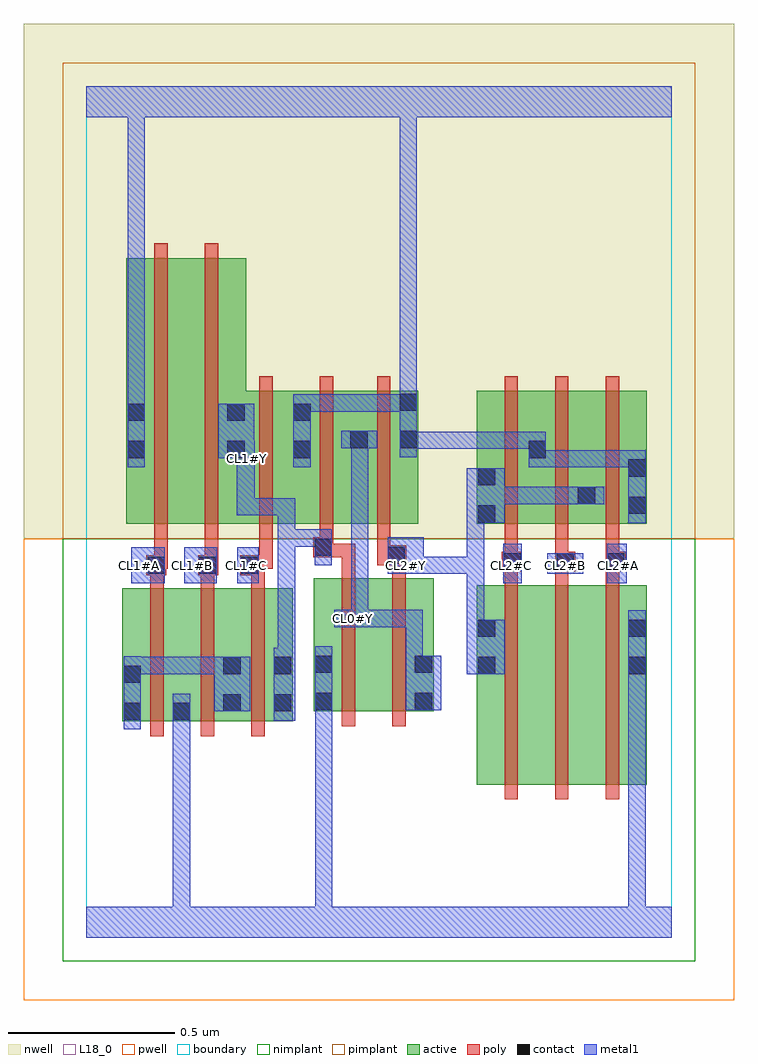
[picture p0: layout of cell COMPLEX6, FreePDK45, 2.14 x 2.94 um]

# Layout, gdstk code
import gdstk
lib = gdstk.Library(unit=1e-6, precision=1e-09)
def R(c, l, rs):  # rectangles x0, y0, x1, y1
    for r in rs: c.add(gdstk.rectangle(r[:2], r[2:], *l))
def A(c, l, x, y, w, h, nx, ny, dx, dy):  # array of equal rectangles
    R(c, l, [(x+i*dx, y+j*dy, x+i*dx+w, y+j*dy+h) for i in range(nx) for j in range(ny)])
active = (1, 0)
pwell = (2, 0)
nwell = (3, 0)
nimplant = (4, 0)
pimplant = (5, 0)
poly = (9, 0)
contact = (10, 0)
metal1 = (11, 0)
L18_0 = (18, 0)
boundary = (235, 0)

complex6 = lib.new_cell('COMPLEX6')
R(complex6, active, [(1.174,0.46,1.354,1.06), (1.354,0.46,1.506,1.06), (1.506,0.46,1.686,1.06), (1.626,0.46,1.686,1.06), (1.174,0.556,1.234,1.06), (0.108,0.65,0.168,1.05), (0.108,0.65,0.316,1.05), (0.256,0.65,0.468,1.05), (0.256,0.65,0.316,0.828), (0.408,0.65,0.62,1.05), (0.408,0.65,0.468,1.012), (0.56,0.65,0.62,1.05), (0.684,0.68,0.744,1.08), (0.684,0.68,0.864,1.08), (0.864,0.68,1.044,1.08), (0.984,0.68,1.044,1.08), (0.12,1.244,0.18,2.044), (0.12,1.244,0.3,2.044), (0.3,1.244,0.48,2.044), (0.42,1.244,0.678,1.644), (0.42,1.244,0.48,2.044), (0.618,1.244,0.85,1.644), (0.79,1.244,0.998,1.644), (0.938,1.244,0.998,1.644), (1.174,1.244,1.234,1.644), (1.174,1.244,1.386,1.644), (1.326,1.244,1.534,1.644), (1.474,1.244,1.686,1.644), (1.626,1.244,1.686,1.644), (1.474,1.3,1.534,1.644), (0.618,1.438,0.678,1.644), (1.326,1.438,1.386,1.644), (0.79,1.468,0.85,1.644)])
R(complex6, pwell, [(-0.188,-0.188,1.948,1.2)])
R(complex6, nwell, [(-0.188,1.2,1.948,2.748)])
R(complex6, nimplant, [(-0.072,-0.072,1.832,1.2)])
R(complex6, pimplant, [(-0.072,1.2,1.832,2.632)])
A(complex6, poly, 1.258, 0.416, 0.04, 0.688, 3, 1, 0.152, 0)
A(complex6, poly, 0.192, 0.606, 0.04, 0.488, 3, 1, 0.152, 0)
A(complex6, poly, 0.192, 1.054, 0.04, 0.076, 3, 1, 0.152, 0)
A(complex6, poly, 1.258, 1.064, 0.04, 0.076, 3, 1, 0.152, 0)
A(complex6, poly, 1.258, 1.12, 0.04, 0.12, 3, 1, 0.152, 0)
A(complex6, poly, 1.258, 1.2, 0.04, 0.488, 3, 1, 0.152, 0)
R(complex6, poly, [(0.768,0.636,0.808,1.124), (0.92,0.636,0.96,1.124), (0.768,1.084,0.808,1.184), (0.92,1.084,0.96,1.16), (0.18,1.09,0.24,1.15), (0.336,1.09,0.396,1.15), (0.344,1.09,0.384,1.13), (0.344,1.09,0.384,1.13), (0.462,1.09,0.536,1.15), (1.25,1.1,1.31,1.16), (1.41,1.1,1.45,1.14), (1.41,1.1,1.45,1.14), (1.41,1.1,1.47,1.16), (1.562,1.1,1.622,1.16), (0.2,1.11,0.24,1.15), (0.2,1.11,0.244,1.15), (0.204,1.11,0.244,1.24), (0.356,1.11,0.396,1.24), (0.496,1.11,0.536,1.15), (0.496,1.11,0.56,1.15), (0.52,1.11,0.56,1.24), (0.874,1.12,0.962,1.18), (0.92,1.12,0.96,1.16), (0.92,1.12,0.96,1.16), (1.258,1.12,1.298,1.16), (1.258,1.12,1.298,1.16), (1.562,1.12,1.602,1.16), (1.562,1.12,1.602,1.16), (0.874,1.14,0.914,1.24), (0.682,1.144,0.742,1.204), (0.702,1.144,0.742,1.184), (0.702,1.144,0.808,1.184), (0.702,1.164,0.742,1.24), (0.204,1.2,0.244,2.088), (0.356,1.2,0.396,2.088), (0.52,1.2,0.56,1.688), (0.702,1.2,0.742,1.688), (0.874,1.2,0.914,1.688)])
R(complex6, contact, [(0.112,0.654,0.164,0.706), (0.26,0.654,0.312,0.706), (0.412,0.68,0.464,0.732), (0.564,0.68,0.616,0.732), (0.688,0.684,0.74,0.736), (0.988,0.684,1.04,0.736), (0.112,0.766,0.164,0.818), (0.412,0.792,0.464,0.844), (0.564,0.792,0.616,0.844), (1.178,0.792,1.23,0.844), (1.63,0.792,1.682,0.844), (0.688,0.796,0.74,0.848), (0.988,0.796,1.04,0.848), (1.178,0.904,1.23,0.956), (1.63,0.904,1.682,0.956), (0.184,1.094,0.236,1.146), (0.34,1.094,0.392,1.146), (0.466,1.094,0.518,1.146), (1.254,1.104,1.306,1.156), (1.414,1.104,1.466,1.156), (1.566,1.104,1.618,1.156), (0.906,1.124,0.958,1.176), (0.686,1.148,0.738,1.2), (1.178,1.248,1.23,1.3), (1.63,1.274,1.682,1.326), (1.478,1.304,1.53,1.356), (1.178,1.36,1.23,1.412), (1.63,1.386,1.682,1.438), (0.124,1.442,0.176,1.494), (0.424,1.442,0.476,1.494), (0.622,1.442,0.674,1.494), (1.33,1.442,1.382,1.494), (0.794,1.472,0.846,1.524), (0.942,1.472,0.994,1.524), (0.124,1.554,0.176,1.606), (0.424,1.554,0.476,1.606), (0.622,1.554,0.674,1.606), (0.942,1.584,0.994,1.636)])
R(complex6, metal1, [(0,0,1.76,0.092), (0.26,0.04,0.312,0.092), (0.26,0.04,0.312,0.092), (0.26,0.04,0.312,0.092), (0.26,0.04,0.312,0.092), (0.26,0.04,0.312,0.092), (0.26,0.04,0.312,0.092), (0.26,0.04,0.312,0.092), (0.26,0.04,0.312,0.092), (0.26,0.04,0.312,0.092), (0.26,0.04,0.312,0.092), (0.26,0.04,0.312,0.678), (0.688,0.04,0.74,0.092), (0.688,0.04,0.74,0.092), (0.688,0.04,0.74,0.092), (0.688,0.04,0.74,0.092), (0.688,0.04,0.74,0.092), (0.688,0.04,0.74,0.092), (0.688,0.04,0.74,0.092), (0.688,0.04,0.74,0.092), (0.688,0.04,0.74,0.092), (0.688,0.04,0.74,0.092), (0.688,0.04,0.74,0.708), (1.63,0.04,1.682,0.092), (1.63,0.04,1.682,0.092), (1.63,0.04,1.682,0.092), (1.63,0.04,1.682,0.092), (1.63,0.04,1.682,0.092), (1.63,0.04,1.682,0.092), (1.63,0.04,1.682,0.092), (1.63,0.04,1.682,0.092), (1.63,0.04,1.682,0.816), (0.112,0.626,0.164,0.846), (0.26,0.626,0.312,0.678), (0.26,0.626,0.312,0.678), (0.26,0.626,0.312,0.734), (0.564,0.652,0.628,0.872), (0.688,0.656,0.74,0.708), (0.688,0.656,0.74,0.708), (0.688,0.656,0.74,0.876), (0.384,0.68,0.492,0.844), (0.96,0.684,1.068,0.848), (1.63,0.764,1.682,0.984), (0.112,0.792,0.164,0.844), (0.112,0.792,0.164,0.844), (0.112,0.792,0.326,0.844), (0.274,0.792,0.326,0.844), (0.274,0.792,0.326,0.844), (0.274,0.792,0.326,0.844), (0.274,0.792,0.436,0.844), (1.144,0.792,1.258,0.956), (0.96,0.796,1.012,0.986), (0.576,0.82,0.628,1.228), (1.144,0.904,1.196,0.956), (1.144,0.904,1.196,0.956), (1.144,0.904,1.196,1.146), (0.746,0.934,0.854,0.986), (0.796,0.934,0.848,0.986), (0.796,0.934,0.848,0.986), (0.796,0.934,0.848,1.524), (0.802,0.934,1.012,0.986), (0.96,0.934,1.012,0.986), (0.96,0.934,1.012,0.986), (0.96,0.934,1.012,0.986), (0.134,1.066,0.236,1.174), (0.294,1.066,0.392,1.174), (0.454,1.066,0.518,1.174), (1.254,1.066,1.31,1.184), (1.566,1.066,1.626,1.184), (0.906,1.094,1.014,1.204), (0.962,1.094,1.014,1.146), (0.962,1.094,1.014,1.146), (0.962,1.094,1.196,1.146), (1.144,1.094,1.196,1.146), (1.144,1.094,1.196,1.3), (1.386,1.094,1.494,1.156), (0.686,1.12,0.738,1.228), (0.576,1.176,0.628,1.228), (0.576,1.176,0.628,1.228), (0.576,1.176,0.628,1.228), (0.576,1.176,0.628,1.228), (0.576,1.176,0.738,1.228), (0.576,1.176,0.628,1.322), (1.63,1.246,1.682,1.466), (1.144,1.248,1.258,1.412), (0.452,1.27,0.506,1.494), (0.454,1.27,0.506,1.322), (0.454,1.27,0.506,1.322), (0.454,1.27,0.628,1.322), (1.206,1.304,1.258,1.356), (1.206,1.304,1.258,1.356), (1.206,1.304,1.392,1.356), (1.34,1.304,1.392,1.356), (1.34,1.304,1.392,1.356), (1.34,1.304,1.392,1.356), (1.34,1.304,1.502,1.356), (1.45,1.304,1.558,1.356), (0.124,1.414,0.176,1.634), (0.622,1.414,0.674,1.634), (1.33,1.414,1.382,1.466), (1.33,1.414,1.382,1.466), (1.33,1.414,1.502,1.466), (1.33,1.414,1.382,1.522), (1.45,1.414,1.502,1.466), (1.45,1.414,1.682,1.466), (1.63,1.414,1.682,1.466), (1.63,1.414,1.682,1.466), (0.396,1.442,0.504,1.606), (0.452,1.442,0.504,1.494), (0.942,1.444,0.994,1.664), (0.942,1.47,1.178,1.522), (1.126,1.47,1.178,1.522), (1.126,1.47,1.178,1.522), (1.126,1.47,1.178,1.522), (1.126,1.47,1.382,1.522), (0.766,1.472,0.874,1.524), (0.124,1.582,0.176,1.634), (0.124,1.582,0.176,1.634), (0.124,1.582,0.176,2.52), (0.622,1.582,0.784,1.634), (0.732,1.582,0.784,1.634), (0.732,1.582,0.784,1.634), (0.732,1.582,0.784,1.634), (0.732,1.582,0.994,1.634), (0.942,1.582,0.994,1.634), (0.942,1.582,0.994,1.634), (0.942,1.612,0.994,1.664), (0.942,1.612,0.994,1.664), (0.942,1.612,0.994,1.664), (0.942,1.612,0.994,1.664), (0.942,1.612,0.994,1.664), (0.942,1.612,0.994,1.664), (0.942,1.612,0.994,1.664), (0.942,1.612,0.994,1.664), (0.942,1.612,0.994,1.664), (0.942,1.612,0.994,1.664), (0.942,1.612,0.994,1.664), (0.942,1.612,0.994,1.664), (0.942,1.612,0.994,1.664), (0.942,1.612,0.994,1.664), (0.942,1.612,0.994,2.52), (0,2.468,1.76,2.56), (0.124,2.468,0.176,2.52), (0.124,2.468,0.176,2.52), (0.124,2.468,0.176,2.52), (0.124,2.468,0.176,2.52), (0.124,2.468,0.176,2.52), (0.124,2.468,0.176,2.52), (0.942,2.468,0.994,2.52), (0.942,2.468,0.994,2.52)])
A(complex6, L18_0, 0.134, 1.094, 0.052, 0.052, 3, 1, 0.16, 0)
A(complex6, L18_0, 1.254, 1.094, 0.052, 0.052, 3, 1, 0.16, 0)
R(complex6, L18_0, [(0,0,1.76,0.092), (0.26,0.04,0.312,0.092), (0.26,0.04,0.312,0.092), (0.26,0.04,0.312,0.092), (0.26,0.04,0.312,0.092), (0.26,0.04,0.312,0.092), (0.26,0.04,0.312,0.092), (0.26,0.04,0.312,0.092), (0.26,0.04,0.312,0.092), (0.26,0.04,0.312,0.092), (0.26,0.04,0.312,0.092), (0.26,0.04,0.312,0.678), (0.688,0.04,0.74,0.092), (0.688,0.04,0.74,0.092), (0.688,0.04,0.74,0.092), (0.688,0.04,0.74,0.092), (0.688,0.04,0.74,0.092), (0.688,0.04,0.74,0.092), (0.688,0.04,0.74,0.092), (0.688,0.04,0.74,0.092), (0.688,0.04,0.74,0.092), (0.688,0.04,0.74,0.092), (0.688,0.04,0.74,0.708), (1.63,0.04,1.682,0.092), (1.63,0.04,1.682,0.092), (1.63,0.04,1.682,0.092), (1.63,0.04,1.682,0.092), (1.63,0.04,1.682,0.092), (1.63,0.04,1.682,0.092), (1.63,0.04,1.682,0.092), (1.63,0.04,1.682,0.092), (1.63,0.04,1.682,0.816), (0.26,0.626,0.312,0.678), (0.26,0.626,0.312,0.678), (0.26,0.626,0.312,0.734), (0.564,0.652,0.628,0.872), (0.688,0.656,0.74,0.876), (0.688,0.656,0.74,0.708), (0.688,0.656,0.74,0.708), (0.96,0.684,1.068,0.848), (1.63,0.764,1.682,0.984), (1.144,0.792,1.258,0.956), (0.96,0.796,1.012,0.986), (0.576,0.82,0.628,1.228), (1.144,0.904,1.196,0.956), (1.144,0.904,1.196,0.956), (1.144,0.904,1.196,1.146), (0.746,0.934,0.854,0.986), (0.774,0.934,0.826,0.986), (0.796,0.934,0.848,0.986), (0.796,0.934,0.848,0.986), (0.796,0.934,0.848,1.524), (0.802,0.934,1.012,0.986), (0.96,0.934,1.012,0.986), (0.96,0.934,1.012,0.986), (0.96,0.934,1.012,0.986), (0.134,1.066,0.236,1.174), (0.294,1.066,0.392,1.174), (0.454,1.066,0.518,1.174), (1.254,1.066,1.31,1.184), (1.566,1.066,1.626,1.184), (0.906,1.094,1.014,1.204), (0.934,1.094,0.986,1.146), (0.962,1.094,1.014,1.146), (0.962,1.094,1.014,1.146), (0.962,1.094,1.196,1.146), (1.144,1.094,1.196,1.146), (1.144,1.094,1.196,1.3), (1.386,1.094,1.494,1.156), (0.686,1.12,0.738,1.228), (0.576,1.176,0.628,1.228), (0.576,1.176,0.628,1.228), (0.576,1.176,0.628,1.228), (0.576,1.176,0.628,1.228), (0.576,1.176,0.628,1.322), (0.576,1.176,0.738,1.228), (1.63,1.246,1.682,1.466), (1.144,1.248,1.258,1.412), (0.452,1.27,0.506,1.494), (0.454,1.27,0.506,1.322), (0.454,1.27,0.506,1.322), (0.454,1.27,0.628,1.322), (1.206,1.304,1.258,1.356), (1.206,1.304,1.258,1.356), (1.206,1.304,1.392,1.356), (1.34,1.304,1.392,1.356), (1.34,1.304,1.392,1.356), (1.34,1.304,1.392,1.356), (1.34,1.304,1.502,1.356), (1.45,1.304,1.558,1.356), (0.124,1.414,0.176,1.634), (0.454,1.414,0.506,1.466), (0.622,1.414,0.674,1.634), (1.33,1.414,1.382,1.466), (1.33,1.414,1.382,1.466), (1.33,1.414,1.382,1.522), (1.33,1.414,1.502,1.466), (1.45,1.414,1.502,1.466), (1.45,1.414,1.682,1.466), (1.63,1.414,1.682,1.466), (1.63,1.414,1.682,1.466), (0.396,1.442,0.504,1.606), (0.452,1.442,0.504,1.494), (0.942,1.444,0.994,1.664), (0.942,1.47,1.178,1.522), (1.126,1.47,1.178,1.522), (1.126,1.47,1.178,1.522), (1.126,1.47,1.178,1.522), (1.126,1.47,1.382,1.522), (0.766,1.472,0.874,1.524), (0.124,1.582,0.176,1.634), (0.124,1.582,0.176,1.634), (0.124,1.582,0.176,2.52), (0.622,1.582,0.784,1.634), (0.732,1.582,0.784,1.634), (0.732,1.582,0.784,1.634), (0.732,1.582,0.784,1.634), (0.732,1.582,0.994,1.634), (0.942,1.582,0.994,1.634), (0.942,1.582,0.994,1.634), (0.942,1.612,0.994,1.664), (0.942,1.612,0.994,1.664), (0.942,1.612,0.994,1.664), (0.942,1.612,0.994,1.664), (0.942,1.612,0.994,1.664), (0.942,1.612,0.994,1.664), (0.942,1.612,0.994,1.664), (0.942,1.612,0.994,1.664), (0.942,1.612,0.994,1.664), (0.942,1.612,0.994,1.664), (0.942,1.612,0.994,1.664), (0.942,1.612,0.994,1.664), (0.942,1.612,0.994,1.664), (0.942,1.612,0.994,1.664), (0.942,1.612,0.994,2.52), (0,2.468,1.76,2.56), (0.124,2.468,0.176,2.52), (0.124,2.468,0.176,2.52), (0.124,2.468,0.176,2.52), (0.124,2.468,0.176,2.52), (0.124,2.468,0.176,2.52), (0.124,2.468,0.176,2.52), (0.942,2.468,0.994,2.52), (0.942,2.468,0.994,2.52)])
R(complex6, boundary, [(0,0,1.76,2.56)])
complex6.add(gdstk.Label('CL0#Y', (0.8,0.96), layer=11, texttype=0))
complex6.add(gdstk.Label('CL1#A', (0.16,1.12), layer=11, texttype=0))
complex6.add(gdstk.Label('CL1#B', (0.32,1.12), layer=11, texttype=0))
complex6.add(gdstk.Label('CL1#C', (0.48,1.12), layer=11, texttype=0))
complex6.add(gdstk.Label('CL1#Y', (0.48,1.44), layer=11, texttype=0))
complex6.add(gdstk.Label('CL2#A', (1.6,1.12), layer=11, texttype=0))
complex6.add(gdstk.Label('CL2#B', (1.44,1.12), layer=11, texttype=0))
complex6.add(gdstk.Label('CL2#C', (1.28,1.12), layer=11, texttype=0))
complex6.add(gdstk.Label('CL2#Y', (0.96,1.12), layer=11, texttype=0))

lib.write_gds('COMPLEX6.gds')
